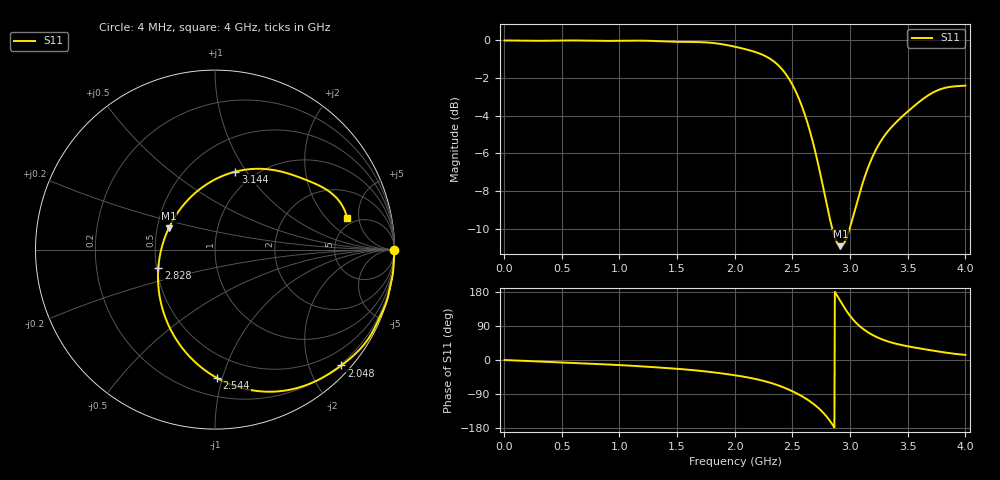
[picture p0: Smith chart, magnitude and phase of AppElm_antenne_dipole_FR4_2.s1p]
! TOUCHSTONE file generated by CST MICROWAVE STUDIO
! Date and time: Thu May 12 15:49:34 2022
! Project name: AppElm_antenne_dipole_FR4.cst
! Parameters = {L=31.04; e=0.035; f=2.45e+09; h=1.6; i=0.8; l1=4; lambda=122.449; ls=30; wl=1.7; ws=80}
! Header version: 2018
! Port assignment regex: !\s*Touchstone port\s*([0-9]+)\s*=\s*(CST MWS port|CST DS port)\s*([0-9]+|Zmin|Zmax)\s*\(\"(.*)\"\)(\s*mode\s*([0-9]+))?.*
! Touchstone port assignment:
! Touchstone port 1 = CST MWS port 1 ("")
# GHz S MA R 50
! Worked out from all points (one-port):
!   1000 points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, 4 MHz to 4 GHz, reference 50 ohm
!   lowest |S11| = -10.9 dB at 2.916 GHz (marker M1), VSWR 1.79, Z = 28.8 + j7.37 ohm
!   |S11| at or under -10 dB: 2.846 GHz to 2.996 GHz (150.4 MHz wide, 5.15 % of centre)
!   S11 on the Smith chart (normalised r, x): 4 MHz: open; 2.048 GHz: 0.17, -2.56; 2.544 GHz: 0.33, -0.96; 2.828 GHz: 0.51, -0.12; 3.144 GHz: 0.82, +0.89; 4 GHz: 4.24, +3.53
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0.004  1 -0.1
0.504  0.9996 -6.3
1.004  0.9979 -13.4
1.504  0.9918 -23.3
1.772  0.9871 -31.0
2.004  0.9621 -40.4
2.048  0.9553 -42.5
2.176  0.9322 -49.8
2.284  0.9025 -58.0
2.404  0.8423 -70.0
2.504  0.7584 -83.1
2.544  0.715 -89.2
2.62  0.6186 -102.5
2.7  0.5035 -120.1
2.764  0.411 -138.1
2.828  0.3327 -161.8
2.876  0.2951 175.9
2.916  0.2841 155.5
2.956  0.2925 135.6
3.004  0.3223 114.9
3.072  0.3827 92.4
3.144  0.4492 75.3
3.216  0.5068 62.7
3.308  0.5635 51.0
3.392  0.6031 43.3
3.504  0.6491 36.0
3.768  0.739 22.3
4  0.7586 13.5
